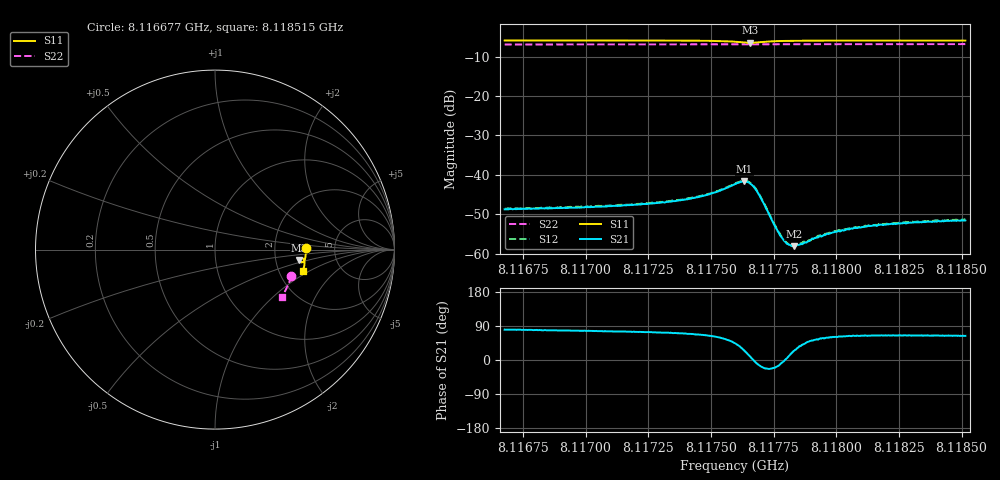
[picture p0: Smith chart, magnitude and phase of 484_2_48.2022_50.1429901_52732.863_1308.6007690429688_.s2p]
#  HZ  S  RI  R  50.00
! Rohde & Schwarz Vector Network Analyzer
! Rohde-Schwarz,ZNB20-2Port,1311601062101988,3.16
! Created: UTC 3/20/2024, 11:57:47 AM
! freq[Hz]  re:S11  im:S11  re:S21  im:S21  re:S12  im:S12  re:S22  im:S22
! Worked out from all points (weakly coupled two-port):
!   401 points, 8.116677 GHz to 8.118515 GHz, reference 50 ohm
!   highest |S21| = -41.69 dB at 8.117633 GHz (marker M1); lowest = -58.1 dB at 8.117831 GHz (marker M2)
!   lowest |S11| = -6.5 dB at 8.117656 GHz (marker M3), VSWR 2.80, Z = 136 - j20.5 ohm
!   |S11| at or under -10 dB: nowhere
!   |S22| runs from -6.9 to -6.8 dB; largest |S21 - S12| = 0.00022
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8.1166773e9  0.5069 0.00853  0.000618 0.00359  0.00065 0.00366  0.4259 -0.1469
8.1169851e9  0.5061 -0.0155  0.00085 0.00375  0.000914 0.00387  0.4191 -0.1673
8.117293e9  0.5037 -0.0404  0.00134 0.0042  0.0014 0.00424  0.4115 -0.1875
8.1173803e9  0.5021 -0.0484  0.0016 0.00449  0.00167 0.00453  0.4091 -0.1932
8.1174676e9  0.4993 -0.0573  0.00219 0.00492  0.00227 0.005  0.4064 -0.1989
8.1175274e9  0.4953 -0.0642  0.00305 0.00533  0.00314 0.0054  0.4047 -0.2027
8.1175963e9  0.4838 -0.0708  0.00548 0.00531  0.00559 0.00536  0.4021 -0.207
8.1176331e9  0.4731 -0.0666  0.00745 0.00351  0.00763 0.00354  0.4006 -0.2088
8.117656e9  0.4702 -0.0582  0.00769 0.00124  0.00787 0.00128  0.4 -0.2098
8.1176698e9  0.4718 -0.0528  0.00712 -8.67e-05  0.00728 -0.000118  0.3997 -0.2105
8.1176882e9  0.4771 -0.0478  0.00577 -0.0012  0.00588 -0.00125  0.3993 -0.2114
8.1177112e9  0.4846 -0.0469  0.00405 -0.00151  0.00413 -0.0016  0.3992 -0.2129
8.1177571e9  0.4938 -0.0524  0.00205 -0.000736  0.00212 -0.000763  0.3982 -0.216
8.1177847e9  0.4962 -0.0567  0.00157 -0.000178  0.00159 -0.000216  0.3974 -0.2179
8.1178077e9  0.4975 -0.0598  0.0013 0.000184  0.00133 0.00015  0.3966 -0.2194
8.1178307e9  0.4982 -0.0629  0.00114 0.000497  0.00117 0.000456  0.396 -0.2208
8.117872e9  0.4988 -0.0679  0.00102 0.000922  0.00104 0.000971  0.3947 -0.2235
8.1179042e9  0.4988 -0.0712  0.000961 0.00121  0.000973 0.00121  0.3937 -0.2255
8.1179915e9  0.4983 -0.0797  0.000916 0.00163  0.000958 0.00168  0.3909 -0.2311
8.1180604e9  0.4978 -0.0857  0.000951 0.00186  0.00101 0.0019  0.3886 -0.2354
8.1182121e9  0.4955 -0.0981  0.00101 0.00213  0.00104 0.00216  0.3833 -0.2446
8.1185153e9  0.4903 -0.1211  0.00117 0.00237  0.00119 0.00244  0.3723 -0.2628
